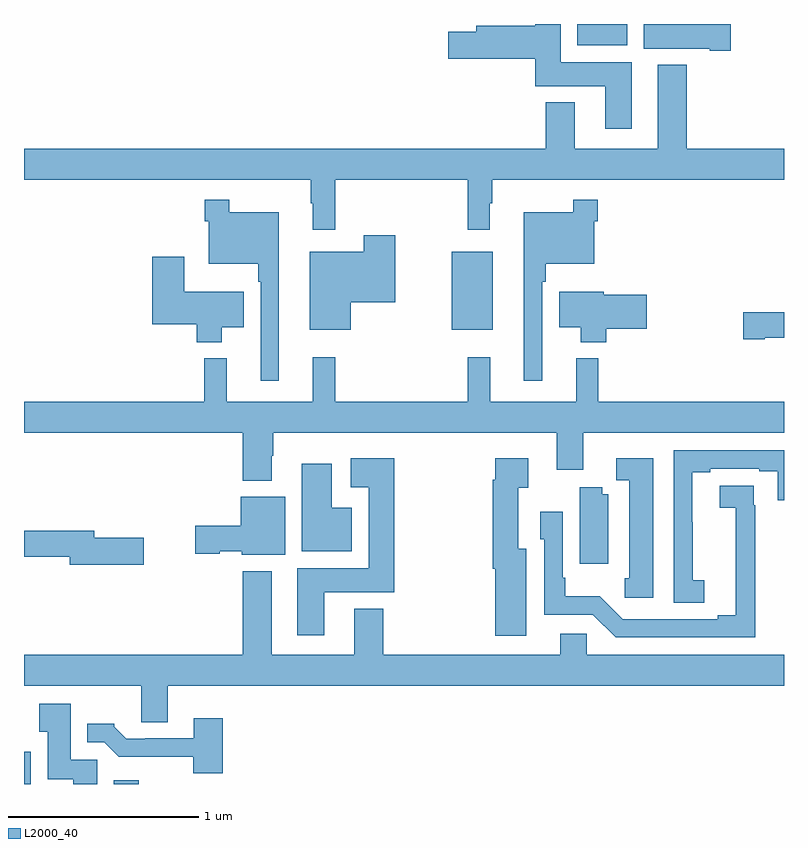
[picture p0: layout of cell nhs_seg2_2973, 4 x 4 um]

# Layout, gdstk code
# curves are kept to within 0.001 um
import gdstk
lib = gdstk.Library(unit=1e-6, precision=1e-09)
def R(c, l, rs):  # rectangles x0, y0, x1, y1
    for r in rs: c.add(gdstk.rectangle(r[:2], r[2:], *l))
def P(c, l, *ps):  # polygons
    for p in ps: c.add(gdstk.Polygon(p, *l))
L2000_40 = (2000, 40)

nhs_seg2_2973 = lib.new_cell('nhs_seg2_2973')
R(nhs_seg2_2973, L2000_40, [(267,633.8,267.036,633.97), (267.473,633.8,267.604,633.82), (269.252,636.191,269.467,636.601), (269.912,637.688,270.175,637.8)])
P(nhs_seg2_2973, L2000_40, [(270.721,637.8),(270.263,637.8),(270.263,637.67),(270.608,637.67),(270.608,637.658),(270.721,637.658)],
  [(270.199,637.6),(269.824,637.6),(269.824,637.8),(269.69,637.8),(269.69,637.79),(269.381,637.79),(269.381,637.76),(269.232,637.76),(269.232,637.618),(269.69,637.618),(269.69,637.472),(270.059,637.472),(270.059,637.248),(270.199,637.248)],
  [(268.637,636.98),(269.335,636.98),(269.335,636.717),(269.452,636.717),(269.452,636.857),(269.464,636.857),(269.464,636.98),(271,636.98),(271,637.144),(270.488,637.144),(270.488,637.585),(270.335,637.585),(270.335,637.144),(269.899,637.144),(269.899,637.387),(269.747,637.387),(269.747,637.144),(267,637.144),(267,636.98),(268.509,636.98),(268.509,636.857),(268.52,636.857),(268.52,636.717),(268.637,636.717)],
  [(268.342,636.808),(268.081,636.808),(268.081,636.874),(267.952,636.874),(267.952,636.761),(267.972,636.761),(267.972,636.539),(268.233,636.539),(268.233,636.443),(268.245,636.443),(268.245,635.922),(268.342,635.922)],
  [(269.727,636.443),(269.747,636.443),(269.747,636.539),(270,636.539),(270,636.761),(270.02,636.761),(270.02,636.874),(269.892,636.874),(269.892,636.808),(269.63,636.808),(269.63,635.922),(269.727,635.922)],
  [(268.72,636.335),(268.954,636.335),(268.954,636.688),(268.789,636.688),(268.789,636.601),(268.505,636.601),(268.505,636.191),(268.72,636.191)],
  [(268.042,636.203),(268.156,636.203),(268.156,636.391),(267.844,636.391),(267.844,636.574),(267.674,636.574),(267.674,636.221),(267.908,636.221),(267.908,636.125),(268.042,636.125)],
  [(270.065,636.196),(270.277,636.196),(270.277,636.374),(270.052,636.374),(270.052,636.391),(269.816,636.391),(269.816,636.203),(269.93,636.203),(269.93,636.125),(270.065,636.125)],
  [(270.898,636.149),(271,636.149),(271,636.284),(270.786,636.284),(270.786,636.142),(270.898,636.142)],
  [(268.303,635.528),(268.311,635.528),(268.311,635.648),(269.804,635.648),(269.804,635.454),(269.944,635.454),(269.944,635.648),(271,635.648),(271,635.812),(270.023,635.812),(270.023,636.04),(269.906,636.04),(269.906,635.812),(269.453,635.812),(269.453,636.046),(269.335,636.046),(269.335,635.812),(268.637,635.812),(268.637,636.046),(268.52,636.046),(268.52,635.812),(268.067,635.812),(268.067,636.04),(267.949,636.04),(267.949,635.812),(267,635.812),(267,635.648),(268.151,635.648),(268.151,635.396),(268.303,635.396)],
  [(270.58,634.873),(270.519,634.873),(270.519,635.177),(270.517,635.177),(270.517,635.44),(270.613,635.44),(270.613,635.46),(270.869,635.46),(270.869,635.446),(270.966,635.446),(270.966,635.293),(271,635.293),(271,635.556),(270.42,635.556),(270.42,634.753),(270.58,634.753)],
  [(270.313,635.515),(270.117,635.515),(270.117,635.4),(270.185,635.4),(270.185,634.884),(270.163,634.884),(270.163,634.779),(270.313,634.779)],
  [(268.579,634.808),(268.949,634.808),(268.949,635.515),(268.719,635.515),(268.719,635.363),(268.814,635.363),(268.814,634.936),(268.439,634.936),(268.439,634.584),(268.579,634.584)],
  [(269.644,635.038),(269.602,635.038),(269.602,635.359),(269.653,635.359),(269.653,635.515),(269.48,635.515),(269.48,635.402),(269.468,635.402),(269.468,634.934),(269.48,634.934),(269.48,634.581),(269.644,634.581)],
  [(268.726,635.254),(268.621,635.254),(268.621,635.485),(268.463,635.485),(268.463,635.024),(268.726,635.024)],
  [(270.848,635.267),(270.842,635.267),(270.842,635.369),(270.663,635.369),(270.663,635.254),(270.745,635.254),(270.746,634.688),(270.65,634.688),(270.65,634.668),(270.15,634.668),(270.029,634.789),(269.848,634.789),(269.848,634.885),(269.835,634.885),(269.835,635.233),(269.718,635.233),(269.718,635.088),(269.739,635.088),(269.739,634.692),(269.994,634.692),(270.114,634.572),(270.848,634.572)],
  [(270.076,635.326),(270.044,635.326),(270.044,635.363),(269.924,635.363),(269.924,634.959),(270.076,634.959)],
  [(268.375,635.311),(268.142,635.311),(268.142,635.159),(267.9,635.159),(267.9,635.012),(268.029,635.012),(268.029,635.024),(268.146,635.024),(268.146,635.006),(268.375,635.006)],
  [(267.631,635.096),(267.37,635.096),(267.37,635.132),(267,635.132),(267,634.996),(267.242,634.996),(267.242,634.954),(267.631,634.954)],
  [(267.757,634.316),(271,634.316),(271,634.48),(269.961,634.48),(269.961,634.59),(269.822,634.59),(269.822,634.48),(268.892,634.48),(268.892,634.723),(268.739,634.723),(268.739,634.48),(268.303,634.48),(268.303,634.921),(268.151,634.921),(268.151,634.48),(267,634.48),(267,634.316),(267.617,634.316),(267.617,634.126),(267.757,634.126)],
  [(267.385,633.927),(267.247,633.927),(267.247,634.222),(267.079,634.222),(267.079,634.075),(267.125,634.075),(267.125,633.824),(267.26,633.824),(267.26,633.8),(267.385,633.8)],
  [(268.046,634.147),(267.893,634.147),(267.893,634.041),(267.637,634.041),(267.637,634.038),(267.538,634.038),(267.474,634.102),(267.474,634.117),(267.332,634.117),(267.332,634.02),(267.423,634.02),(267.499,633.944),(267.891,633.944),(267.891,633.857),(268.046,633.857)])

lib.write_gds('nhs_seg2_2973.gds')
